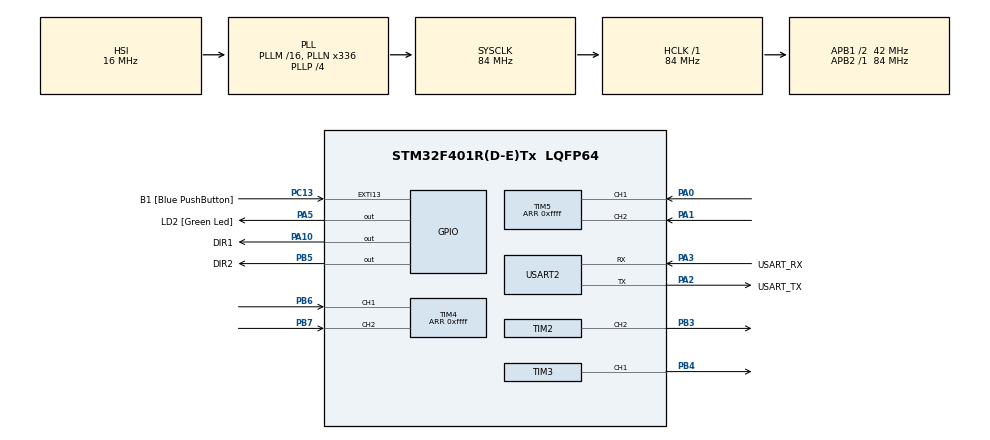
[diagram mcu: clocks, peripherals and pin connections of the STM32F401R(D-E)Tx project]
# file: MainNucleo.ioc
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Mcu.Family=STM32F4
Mcu.Name=STM32F401R(D-E)Tx
Mcu.Package=LQFP64
NVIC.PriorityGroup=NVIC_PRIORITYGROUP_0
PA0-WKUP.GPIO_PuPd=GPIO_PULLUP
PA0-WKUP.Signal=S_TIM5_CH1
PA1.GPIO_PuPd=GPIO_PULLUP
PA1.Signal=S_TIM5_CH2
PA10.GPIO_Label=DIR1
PA10.GPIO_Speed=GPIO_SPEED_FREQ_LOW
PA10.Signal=GPIO_Output
PA13.GPIO_Label=TMS
PA13.Mode=Serial_Wire
PA13.Signal=SYS_JTMS-SWDIO
PA14.GPIO_Label=TCK
PA14.Mode=Serial_Wire
PA14.Signal=SYS_JTCK-SWCLK
PA2.GPIO_Label=USART_TX
PA2.GPIO_Mode=GPIO_MODE_AF_PP
PA2.GPIO_PuPd=GPIO_NOPULL
PA2.GPIO_Speed=GPIO_SPEED_FREQ_LOW
PA2.Mode=Asynchronous
PA2.Signal=USART2_TX
PA3.GPIO_Label=USART_RX
PA3.GPIO_Mode=GPIO_MODE_AF_PP
PA3.GPIO_PuPd=GPIO_NOPULL
PA3.GPIO_Speed=GPIO_SPEED_FREQ_LOW
PA3.Mode=Asynchronous
PA3.Signal=USART2_RX
PA5.GPIO_Label=LD2 [Green Led]
PA5.GPIO_Mode=GPIO_MODE_OUTPUT_PP
PA5.GPIO_PuPd=GPIO_NOPULL
PA5.GPIO_Speed=GPIO_SPEED_FREQ_LOW
PA5.Signal=GPIO_Output
PB3.Signal=S_TIM2_CH2
PB4.Signal=S_TIM3_CH1
PB5.GPIO_Label=DIR2
PB5.Signal=GPIO_Output
PB6.GPIO_PuPd=GPIO_PULLUP
PB6.Signal=S_TIM4_CH1
PB7.GPIO_PuPd=GPIO_PULLUP
PB7.Signal=S_TIM4_CH2
PC13-ANTI_TAMP.GPIO_Label=B1 [Blue PushButton]
PC13-ANTI_TAMP.GPIO_ModeDefaultEXTI=GPIO_MODE_IT_FALLING
PC13-ANTI_TAMP.GPIO_PuPd=GPIO_NOPULL
PC13-ANTI_TAMP.Signal=GPXTI13
PC14-OSC32_IN.Mode=LSE-External-Oscillator
PC14-OSC32_IN.Signal=RCC_OSC32_IN
PC15-OSC32_OUT.Mode=LSE-External-Oscillator
PC15-OSC32_OUT.Signal=RCC_OSC32_OUT
PH0\ -\ OSC_IN.Mode=HSE-External-Clock-Source
PH0\ -\ OSC_IN.Signal=RCC_OSC_IN
PH1\ -\ OSC_OUT.Mode=HSE-External-Clock-Source
PH1\ -\ OSC_OUT.Signal=RCC_OSC_OUT
ProjectManager.HeapSize=0x200
ProjectManager.StackSize=0x400
ProjectManager.TargetToolchain=Makefile
RCC.48MHZClocksFreq_Value=48000000
RCC.AHBFreq_Value=84000000
RCC.APB1CLKDivider=RCC_HCLK_DIV2
RCC.APB1Freq_Value=42000000
RCC.APB1TimFreq_Value=84000000
RCC.APB2Freq_Value=84000000
RCC.APB2TimFreq_Value=84000000
RCC.CortexFreq_Value=84000000
RCC.HCLKFreq_Value=84000000
RCC.HSE_VALUE=8000000
RCC.HSI_VALUE=16000000
RCC.PLLN=336
RCC.PLLP=RCC_PLLP_DIV4
RCC.PLLQ=7
RCC.SYSCLKFreq_VALUE=84000000
RCC.SYSCLKSource=RCC_SYSCLKSOURCE_PLLCLK
RCC.VCOOutputFreq_Value=336000000
SH.S_TIM2_CH2.0=TIM2_CH2,PWM Generation2 CH2
SH.S_TIM3_CH1.0=TIM3_CH1,PWM Generation1 CH1
SH.S_TIM4_CH1.0=TIM4_CH1,Encoder_Interface
SH.S_TIM4_CH2.0=TIM4_CH2,Encoder_Interface
SH.S_TIM5_CH1.0=TIM5_CH1,Encoder_Interface
SH.S_TIM5_CH2.0=TIM5_CH2,Encoder_Interface
TIM2.Channel-PWM\ Generation2\ CH2=TIM_CHANNEL_2
TIM2.Period=10000
TIM3.Channel-PWM\ Generation1\ CH1=TIM_CHANNEL_1
TIM3.Period=10000
TIM4.EncoderMode=TIM_ENCODERMODE_TI12
TIM4.Period=0xffff
TIM5.EncoderMode=TIM_ENCODERMODE_TI12
TIM5.Period=0xffff
USART2.VirtualMode=VM_ASYNC
board=NUCLEO-F401RE

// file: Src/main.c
/* USER CODE BEGIN Header */
/**
  ******************************************************************************
  * @file           : main.c
  * @brief          : Main program body
  ******************************************************************************
  ** This notice applies to any and all portions of this file
  * that are not between comment pairs USER CODE BEGIN and
  * USER CODE END. Other portions of this file, whether
  * inserted by the user or by software development tools
  * are owned by their respective copyright owners.
  *
  * COPYRIGHT(c) 2019 STMicroelectronics
  *
  * Redistribution and use in source and binary forms, with or without modification,
  * are permitted provided that the following conditions are met:
  *   1. Redistributions of source code must retain the above copyright notice,
  *      this list of conditions and the following disclaimer.
  *   2. Redistributions in binary form must reproduce the above copyright notice,
  *      this list of conditions and the following disclaimer in the documentation
  *      and/or other materials provided with the distribution.
  *   3. Neither the name of STMicroelectronics nor the names of its contributors
  *      may be used to endorse or promote products derived from this software
  *      without specific prior written permission.
  *
  * THIS SOFTWARE IS PROVIDED BY THE COPYRIGHT HOLDERS AND CONTRIBUTORS "AS IS"
  * AND ANY EXPRESS OR IMPLIED WARRANTIES, INCLUDING, BUT NOT LIMITED TO, THE
  * IMPLIED WARRANTIES OF MERCHANTABILITY AND FITNESS FOR A PARTICULAR PURPOSE ARE
  * DISCLAIMED. IN NO EVENT SHALL THE COPYRIGHT HOLDER OR CONTRIBUTORS BE LIABLE
  * FOR ANY DIRECT, INDIRECT, INCIDENTAL, SPECIAL, EXEMPLARY, OR CONSEQUENTIAL
  * DAMAGES (INCLUDING, BUT NOT LIMITED TO, PROCUREMENT OF SUBSTITUTE GOODS OR
  * SERVICES; LOSS OF USE, DATA, OR PROFITS; OR BUSINESS INTERRUPTION) HOWEVER
  * CAUSED AND ON ANY THEORY OF LIABILITY, WHETHER IN CONTRACT, STRICT LIABILITY,
  * OR TORT (INCLUDING NEGLIGENCE OR OTHERWISE) ARISING IN ANY WAY OUT OF THE USE
  * OF THIS SOFTWARE, EVEN IF ADVISED OF THE POSSIBILITY OF SUCH DAMAGE.
  *
  ******************************************************************************
  */
/* USER CODE END Header */

#include "main.h"

/* USER CODE BEGIN Includes */
#include "assert.h"
/* USER CODE END Includes */

/* USER CODE BEGIN PD */
#define DEBUG 1
/* USER CODE END PD */

TIM_HandleTypeDef htim2;
TIM_HandleTypeDef htim3;
TIM_HandleTypeDef htim4;
TIM_HandleTypeDef htim5;

UART_HandleTypeDef huart2;

void SystemClock_Config(void);
static void MX_GPIO_Init(void);
static void MX_USART2_UART_Init(void);
static void MX_TIM2_Init(void);
static void MX_TIM3_Init(void);
static void MX_TIM4_Init(void);
static void MX_TIM5_Init(void);
/* USER CODE BEGIN PFP */
void moteurDroit(int PWM);
void moteurGauche(int PWM);
/* USER CODE END PFP */

/* USER CODE BEGIN 0 */
double positionX = 0.0;
double positionY = 0.0;
double angle = 0.0;

/* USER CODE END 0 */

int main(void)
{

  /* MCU Configuration--------------------------------------------------------*/

  /* Reset of all peripherals, Initializes the Flash interface and the Systick. */
  HAL_Init();

  /* Configure the system clock */
  SystemClock_Config();

  /* Initialize all configured peripherals */
  MX_GPIO_Init();
  MX_USART2_UART_Init();
  MX_TIM2_Init();
  MX_TIM3_Init();
  MX_TIM4_Init();
  MX_TIM5_Init();
  /* USER CODE BEGIN 2 */
  HAL_TIM_PWM_Start (&htim2, TIM_CHANNEL_2);
  HAL_TIM_PWM_Start (&htim3, TIM_CHANNEL_1);
  HAL_TIM_Encoder_Start(&htim4, TIM_CHANNEL_ALL);
  HAL_TIM_Encoder_Start(&htim5, TIM_CHANNEL_ALL);
  /* USER CODE END 2 */

  /* Infinite loop */
  /* USER CODE BEGIN WHILE */
  HAL_UART_Transmit(&huart2, "Atttenzion, zest barti !", sizeof("Atttenzion, zest barti !"), HAL_MAX_DELAY);
  uint32_t oldTicks = HAL_GetTick();
  int debug = 0;
  char buffer[50] = "";
  TIM4->CNT = 30000;
  TIM5->CNT = 30000;
  double tim4 = 0;
  double tim5 = 0;
  double tim4tot = 0;
  double tim5tot = 0;
  while (1)
  {
    //htim2.Instance->CCR2 = 1000;
    //htim3.Instance->CCR1 = 1000;
    //HAL_GPIO_WritePin(DIR1_GPIO_Port, DIR1_Pin, GPIO_PIN_SET);
    //HAL_GPIO_WritePin(DIR2_GPIO_Port, DIR2_Pin, GPIO_PIN_SET);
    //HAL_Delay(50);
    //HAL_GPIO_WritePin(DIR1_GPIO_Port, DIR1_Pin, GPIO_PIN_RESET);
    //HAL_GPIO_WritePin(DIR2_GPIO_Port, DIR2_Pin, GPIO_PIN_RESET);
    moteurDroit(2000);
    //HAL_Delay(5000);
    //moteurDroit(2000, 1);
    //HAL_Delay(5000);
    //char buffer[16] = "";
    //sprintf(buffer, "%d;%d\n", TIM4->CNT, TIM5->CNT);
    //HAL_UART_Transmit(&huart2, buffer, sizeof(buffer), HAL_MAX_DELAY);
    while(HAL_GetTick() - oldTicks < 50)
    {}
    oldTicks = HAL_GetTick();
    tim4 = (TIM4->CNT)-30000;
    tim5 = -(TIM5->CNT)+30000;
    tim4 = 10;
    tim5 = 10;
    updatePos(tim4, tim5, &positionX, &positionY, &angle);
    //TIM4->CNT = 30000;
    //TIM5->CNT = 30000;
    tim4tot += tim4;
    tim5tot += tim5;

    debug += 1;
    if (DEBUG)
    {
        if (debug == 1)
        {
            sprintf(buffer, "\n%d / %d / %d\n_____________", (int)positionX, (int)positionY, (int)(angle*1000));
            HAL_UART_Transmit(&huart2, buffer, sizeof(buffer), HAL_MAX_DELAY);
            sprintf(buffer, "\n%d / %d\n___________________", tim4, tim5);
            HAL_UART_Transmit(&huart2, buffer, sizeof(buffer), HAL_MAX_DELAY);
            debug = 0;
        }
    }

    /* USER CODE END WHILE */

  }
}

void SystemClock_Config(void)
{
  RCC_OscInitTypeDef RCC_OscInitStruct = {0};
  RCC_ClkInitTypeDef RCC_ClkInitStruct = {0};

  /**Configure the main internal regulator output voltage
  */
  __HAL_RCC_PWR_CLK_ENABLE();
  __HAL_PWR_VOLTAGESCALING_CONFIG(PWR_REGULATOR_VOLTAGE_SCALE2);
  /**Initializes the CPU, AHB and APB busses clocks
  */
  RCC_OscInitStruct.OscillatorType = RCC_OSCILLATORTYPE_HSI;
  RCC_OscInitStruct.HSIState = RCC_HSI_ON;
  RCC_OscInitStruct.HSICalibrationValue = RCC_HSICALIBRATION_DEFAULT;
  RCC_OscInitStruct.PLL.PLLState = RCC_PLL_ON;
  RCC_OscInitStruct.PLL.PLLSource = RCC_PLLSOURCE_HSI;
  RCC_OscInitStruct.PLL.PLLM = 16;
  RCC_OscInitStruct.PLL.PLLN = 336;
  RCC_OscInitStruct.PLL.PLLP = RCC_PLLP_DIV4;
  RCC_OscInitStruct.PLL.PLLQ = 7;
  if (HAL_RCC_OscConfig(&RCC_OscInitStruct) != HAL_OK)
  {
    Error_Handler();
  }
  /**Initializes the CPU, AHB and APB busses clocks
  */
  RCC_ClkInitStruct.ClockType = RCC_CLOCKTYPE_HCLK|RCC_CLOCKTYPE_SYSCLK
                              |RCC_CLOCKTYPE_PCLK1|RCC_CLOCKTYPE_PCLK2;
  RCC_ClkInitStruct.SYSCLKSource = RCC_SYSCLKSOURCE_PLLCLK;
  RCC_ClkInitStruct.AHBCLKDivider = RCC_SYSCLK_DIV1;
  RCC_ClkInitStruct.APB1CLKDivider = RCC_HCLK_DIV2;
  RCC_ClkInitStruct.APB2CLKDivider = RCC_HCLK_DIV1;

  if (HAL_RCC_ClockConfig(&RCC_ClkInitStruct, FLASH_LATENCY_2) != HAL_OK)
  {
    Error_Handler();
  }
}

static void MX_TIM2_Init(void)
{

  TIM_MasterConfigTypeDef sMasterConfig = {0};
  TIM_OC_InitTypeDef sConfigOC = {0};

  htim2.Instance = TIM2;
  htim2.Init.Prescaler = 0;
  htim2.Init.CounterMode = TIM_COUNTERMODE_UP;
  htim2.Init.Period = 10000;
  htim2.Init.ClockDivision = TIM_CLOCKDIVISION_DIV1;
  if (HAL_TIM_PWM_Init(&htim2) != HAL_OK)
  {
    Error_Handler();
  }
  sMasterConfig.MasterOutputTrigger = TIM_TRGO_RESET;
  sMasterConfig.MasterSlaveMode = TIM_MASTERSLAVEMODE_DISABLE;
  if (HAL_TIMEx_MasterConfigSynchronization(&htim2, &sMasterConfig) != HAL_OK)
  {
    Error_Handler();
  }
  sConfigOC.OCMode = TIM_OCMODE_PWM1;
  sConfigOC.Pulse = 0;
  sConfigOC.OCPolarity = TIM_OCPOLARITY_HIGH;
  sConfigOC.OCFastMode = TIM_OCFAST_DISABLE;
  if (HAL_TIM_PWM_ConfigChannel(&htim2, &sConfigOC, TIM_CHANNEL_2) != HAL_OK)
  {
    Error_Handler();
  }
  HAL_TIM_MspPostInit(&htim2);

}

static void MX_TIM3_Init(void)
{

  TIM_MasterConfigTypeDef sMasterConfig = {0};
  TIM_OC_InitTypeDef sConfigOC = {0};

  htim3.Instance = TIM3;
  htim3.Init.Prescaler = 0;
  htim3.Init.CounterMode = TIM_COUNTERMODE_UP;
  htim3.Init.Period = 10000;
  htim3.Init.ClockDivision = TIM_CLOCKDIVISION_DIV1;
  if (HAL_TIM_PWM_Init(&htim3) != HAL_OK)
  {
    Error_Handler();
  }
  sMasterConfig.MasterOutputTrigger = TIM_TRGO_RESET;
  sMasterConfig.MasterSlaveMode = TIM_MASTERSLAVEMODE_DISABLE;
  if (HAL_TIMEx_MasterConfigSynchronization(&htim3, &sMasterConfig) != HAL_OK)
  {
    Error_Handler();
  }
  sConfigOC.OCMode = TIM_OCMODE_PWM1;
  sConfigOC.Pulse = 0;
  sConfigOC.OCPolarity = TIM_OCPOLARITY_HIGH;
  sConfigOC.OCFastMode = TIM_OCFAST_DISABLE;
  if (HAL_TIM_PWM_ConfigChannel(&htim3, &sConfigOC, TIM_CHANNEL_1) != HAL_OK)
  {
    Error_Handler();
  }
  HAL_TIM_MspPostInit(&htim3);

}

static void MX_TIM4_Init(void)
{

  TIM_Encoder_InitTypeDef sConfig = {0};
  TIM_MasterConfigTypeDef sMasterConfig = {0};

  htim4.Instance = TIM4;
  htim4.Init.Prescaler = 0;
  htim4.Init.CounterMode = TIM_COUNTERMODE_UP;
  htim4.Init.Period = 0xffff;
  htim4.Init.ClockDivision = TIM_CLOCKDIVISION_DIV1;
  sConfig.EncoderMode = TIM_ENCODERMODE_TI12;
  sConfig.IC1Polarity = TIM_ICPOLARITY_RISING;
  sConfig.IC1Selection = TIM_ICSELECTION_DIRECTTI;
  sConfig.IC1Prescaler = TIM_ICPSC_DIV1;
  sConfig.IC1Filter = 0;
  sConfig.IC2Polarity = TIM_ICPOLARITY_RISING;
  sConfig.IC2Selection = TIM_ICSELECTION_DIRECTTI;
  sConfig.IC2Prescaler = TIM_ICPSC_DIV1;
  sConfig.IC2Filter = 0;
  if (HAL_TIM_Encoder_Init(&htim4, &sConfig) != HAL_OK)
  {
    Error_Handler();
  }
  sMasterConfig.MasterOutputTrigger = TIM_TRGO_RESET;
  sMasterConfig.MasterSlaveMode = TIM_MASTERSLAVEMODE_DISABLE;
  if (HAL_TIMEx_MasterConfigSynchronization(&htim4, &sMasterConfig) != HAL_OK)
  {
    Error_Handler();
  }

}

static void MX_TIM5_Init(void)
{

  TIM_Encoder_InitTypeDef sConfig = {0};
  TIM_MasterConfigTypeDef sMasterConfig = {0};

  htim5.Instance = TIM5;
  htim5.Init.Prescaler = 0;
  htim5.Init.CounterMode = TIM_COUNTERMODE_UP;
  htim5.Init.Period = 0xffff;
  htim5.Init.ClockDivision = TIM_CLOCKDIVISION_DIV1;
  sConfig.EncoderMode = TIM_ENCODERMODE_TI12;
  sConfig.IC1Polarity = TIM_ICPOLARITY_RISING;
  sConfig.IC1Selection = TIM_ICSELECTION_DIRECTTI;
  sConfig.IC1Prescaler = TIM_ICPSC_DIV1;
  sConfig.IC1Filter = 0;
  sConfig.IC2Polarity = TIM_ICPOLARITY_RISING;
  sConfig.IC2Selection = TIM_ICSELECTION_DIRECTTI;
  sConfig.IC2Prescaler = TIM_ICPSC_DIV1;
  sConfig.IC2Filter = 0;
  if (HAL_TIM_Encoder_Init(&htim5, &sConfig) != HAL_OK)
  {
    Error_Handler();
  }
  sMasterConfig.MasterOutputTrigger = TIM_TRGO_RESET;
  sMasterConfig.MasterSlaveMode = TIM_MASTERSLAVEMODE_DISABLE;
  if (HAL_TIMEx_MasterConfigSynchronization(&htim5, &sMasterConfig) != HAL_OK)
  {
    Error_Handler();
  }

}

static void MX_USART2_UART_Init(void)
{

  huart2.Instance = USART2;
  huart2.Init.BaudRate = 115200;
  huart2.Init.WordLength = UART_WORDLENGTH_8B;
  huart2.Init.StopBits = UART_STOPBITS_1;
  huart2.Init.Parity = UART_PARITY_NONE;
  huart2.Init.Mode = UART_MODE_TX_RX;
  huart2.Init.HwFlowCtl = UART_HWCONTROL_NONE;
  huart2.Init.OverSampling = UART_OVERSAMPLING_16;
  if (HAL_UART_Init(&huart2) != HAL_OK)
  {
    Error_Handler();
  }

}

static void MX_GPIO_Init(void)
{
  GPIO_InitTypeDef GPIO_InitStruct = {0};

  /* GPIO Ports Clock Enable */
  __HAL_RCC_GPIOC_CLK_ENABLE();
  __HAL_RCC_GPIOH_CLK_ENABLE();
  __HAL_RCC_GPIOA_CLK_ENABLE();
  __HAL_RCC_GPIOB_CLK_ENABLE();

  /*Configure GPIO pin Output Level */
  HAL_GPIO_WritePin(GPIOA, LD2_Pin|DIR1_Pin, GPIO_PIN_RESET);

  /*Configure GPIO pin Output Level */
  HAL_GPIO_WritePin(DIR2_GPIO_Port, DIR2_Pin, GPIO_PIN_RESET);

  /*Configure GPIO pin : B1_Pin */
  GPIO_InitStruct.Pin = B1_Pin;
  GPIO_InitStruct.Mode = GPIO_MODE_IT_FALLING;
  GPIO_InitStruct.Pull = GPIO_NOPULL;
  HAL_GPIO_Init(B1_GPIO_Port, &GPIO_InitStruct);

  /*Configure GPIO pins : LD2_Pin DIR1_Pin */
  GPIO_InitStruct.Pin = LD2_Pin|DIR1_Pin;
  GPIO_InitStruct.Mode = GPIO_MODE_OUTPUT_PP;
  GPIO_InitStruct.Pull = GPIO_NOPULL;
  GPIO_InitStruct.Speed = GPIO_SPEED_FREQ_LOW;
  HAL_GPIO_Init(GPIOA, &GPIO_InitStruct);

  /*Configure GPIO pin : DIR2_Pin */
  GPIO_InitStruct.Pin = DIR2_Pin;
  GPIO_InitStruct.Mode = GPIO_MODE_OUTPUT_PP;
  GPIO_InitStruct.Pull = GPIO_NOPULL;
  GPIO_InitStruct.Speed = GPIO_SPEED_FREQ_LOW;
  HAL_GPIO_Init(DIR2_GPIO_Port, &GPIO_InitStruct);

}

/* USER CODE BEGIN 4 */
void moteurDroit(int PWM)
{
    if(PWM == abs(PWM))
    {
        HAL_GPIO_WritePin(DIR1_GPIO_Port, DIR1_Pin, GPIO_PIN_RESET);
    }
    else
    {
        HAL_GPIO_WritePin(DIR1_GPIO_Port, DIR1_Pin, GPIO_PIN_SET);
    }
    htim2.Instance->CCR2 = abs(PWM);
}

void moteurGauche(int PWM)
{
    if(PWM == abs(PWM))
    {
        HAL_GPIO_WritePin(DIR2_GPIO_Port, DIR2_Pin, GPIO_PIN_SET);
    }
    else
    {
        HAL_GPIO_WritePin(DIR2_GPIO_Port, DIR2_Pin, GPIO_PIN_RESET);
    }
    htim3.Instance->CCR1 = abs(PWM);
}

/* USER CODE END 4 */

void Error_Handler(void)
{
}

/************************ (C) COPYRIGHT STMicroelectronics *****END OF FILE****/
